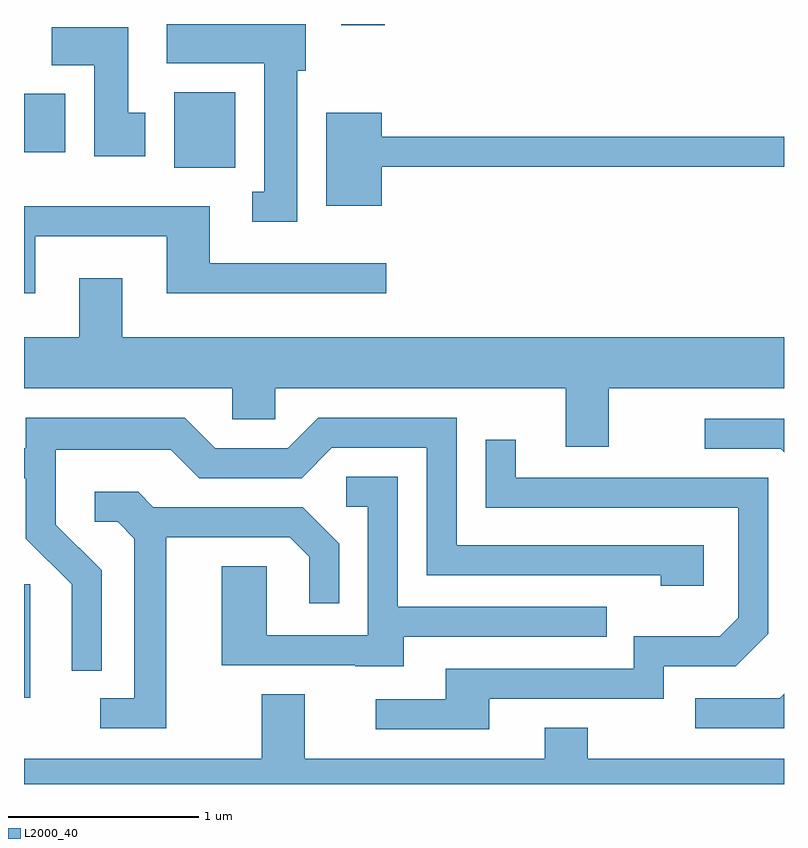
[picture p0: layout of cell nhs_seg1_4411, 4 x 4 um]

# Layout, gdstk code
import gdstk
lib = gdstk.Library(unit=1e-6, precision=1e-09)
def R(c, l, rs):  # rectangles x0, y0, x1, y1
    for r in rs: c.add(gdstk.rectangle(r[:2], r[2:], *l))
def P(c, l, *ps):  # polygons
    for p in ps: c.add(gdstk.Polygon(p, *l))
L2000_40 = (2000, 40)

nhs_seg1_4411 = lib.new_cell('nhs_seg1_4411')
R(nhs_seg1_4411, L2000_40, [(317.611,900.166,317.644,900.764), (318.401,902.956,318.724,903.354), (317.611,903.036,317.829,903.344), (319.281,903.706,319.509,903.712)])
P(nhs_seg1_4411, L2000_40, [(319.049,903.466),(319.094,903.466),(319.094,903.712),(318.361,903.712),(318.361,903.506),(318.876,903.506),(318.876,902.829),(318.813,902.829),(318.813,902.671),(319.049,902.671)],
  [(318.249,903.244),(318.159,903.244),(318.159,903.694),(317.756,903.694),(317.756,903.496),(317.981,903.496),(317.981,903.016),(318.249,903.016)],
  [(319.494,902.961),(321.611,902.961),(321.611,903.119),(319.494,903.119),(319.494,903.244),(319.201,903.244),(319.201,902.756),(319.494,902.756)],
  [(317.669,902.596),(318.361,902.596),(318.361,902.296),(319.518,902.296),(319.518,902.454),(318.589,902.454),(318.589,902.754),(317.611,902.754),(317.611,902.296),(317.669,902.296)],
  [(320.689,901.796),(321.611,901.796),(321.611,902.064),(318.129,902.064),(318.129,902.374),(317.901,902.374),(317.901,902.064),(317.611,902.064),(317.611,901.796),(318.706,901.796),(318.706,901.631),(318.934,901.631),(318.934,901.796),(320.461,901.796),(320.461,901.486),(320.689,901.486)],
  [(318.019,900.837),(317.779,901.077),(317.779,901.471),(318.384,901.471),(318.534,901.321),(319.072,901.321),(319.232,901.481),(319.731,901.481),(319.731,900.811),(320.961,900.811),(320.961,900.756),(321.189,900.756),(321.189,900.969),(319.889,900.969),(319.889,901.639),(319.159,901.639),(318.999,901.479),(318.617,901.479),(318.457,901.639),(317.621,901.639),(317.621,901.479),(317.611,901.479),(317.611,901.321),(317.621,901.321),(317.621,901.004),(317.861,900.764),(317.861,900.308),(318.019,900.308)],
  [(321.611,901.634),(321.193,901.634),(321.193,901.476),(321.594,901.476),(321.611,901.459)],
  [(320.059,900.161),(320.979,900.161),(320.979,900.331),(321.357,900.331),(321.529,900.504),(321.529,901.324),(320.199,901.324),(320.199,901.523),(320.041,901.523),(320.041,901.166),(321.371,901.166),(321.371,900.587),(321.274,900.489),(320.821,900.489),(320.821,900.319),(319.831,900.319),(319.831,900.159),(319.463,900.159),(319.463,900.001),(320.059,900.001)],
  [(319.609,900.486),(320.678,900.486),(320.678,900.644),(319.579,900.644),(319.579,901.329),(319.308,901.329),(319.308,901.171),(319.421,901.171),(319.421,900.494),(318.889,900.494),(318.889,900.859),(318.651,900.859),(318.651,900.336),(319.355,900.336),(319.355,900.331),(319.609,900.331)],
  [(318.359,901.011),(319.009,901.011),(319.111,900.909),(319.111,900.663),(319.269,900.663),(319.269,900.977),(319.077,901.169),(318.292,901.169),(318.212,901.249),(317.983,901.249),(317.983,901.091),(318.104,901.091),(318.191,901.004),(318.191,900.164),(318.013,900.164),(318.013,900.006),(318.359,900.006)],
  [(321.611,900.186),(321.589,900.164),(321.143,900.164),(321.143,900.006),(321.611,900.006)],
  [(321.611,899.844),(320.579,899.844),(320.579,900.009),(320.351,900.009),(320.351,899.844),(319.089,899.844),(319.089,900.184),(318.861,900.184),(318.861,899.844),(317.611,899.844),(317.611,899.712),(321.611,899.712)])

lib.write_gds('nhs_seg1_4411.gds')
